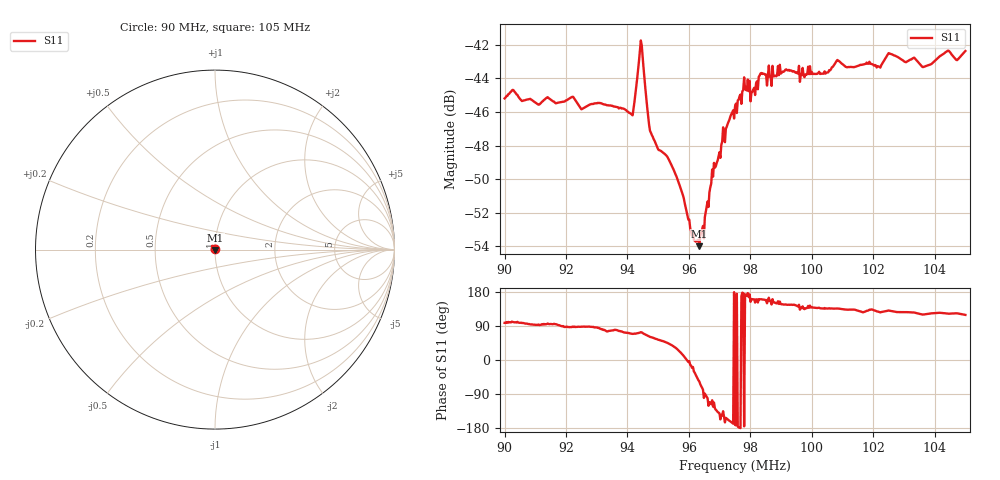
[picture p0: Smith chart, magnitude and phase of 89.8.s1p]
# HZ S RI R 50
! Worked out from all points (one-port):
!   505 points, 90 MHz to 105 MHz, reference 50 ohm
!   lowest |S11| = -54.0 dB at 96.34 MHz (marker M1), VSWR 1.00, Z = 50.1 - j0.167 ohm
!   |S11| at or under -10 dB: start of sweep to end of sweep
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9e7  -0.000765 0.00545
9.026786e7  -0.00103 0.00574
9.107143e7  -0.000237 0.00528
9.187501e7  8.35e-05 0.00537
9.375001e7  0.00121 0.00502
9.416668e7  0.00176 0.00457
9.443454e7  0.00234 0.00785
9.449406e7  0.00237 0.00691
9.467263e7  0.0022 0.00434
9.476192e7  0.00215 0.00378
9.562502e7  0.00278 0.00149
9.613097e7  0.0021 -0.000699
9.633931e7  0.0011 -0.00167
9.648812e7  -0.000368 -0.00207
9.68155e7  -0.00134 -0.00327
9.750002e7  -0.00514 -0.000794
9.779764e7  -0.00634 -0.000539
9.80655e7  -0.00543 0.00193
9.836312e7  -0.00617 0.0022
9.937503e7  -0.00544 0.00376
1.0125e8  -0.00466 0.005
1.021727e8  -0.00415 0.00545
1.025298e8  -0.00483 0.00573
1.03125e8  -0.0042 0.00574
1.036608e8  -0.00345 0.00591
1.044048e8  -0.00409 0.00642
1.047322e8  -0.00392 0.00599
1.05e8  -0.0037 0.00667
